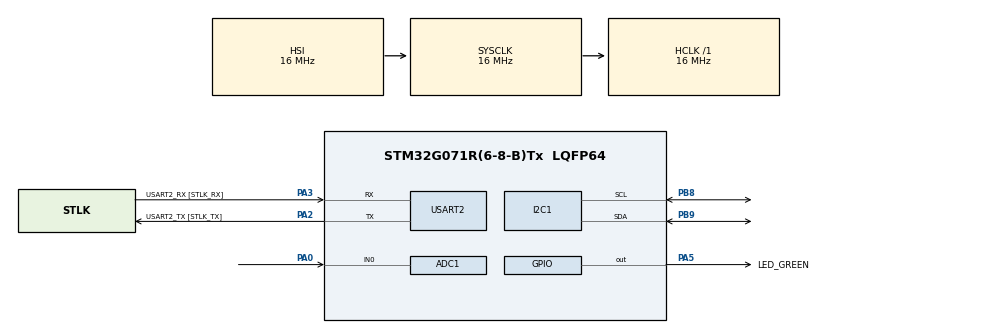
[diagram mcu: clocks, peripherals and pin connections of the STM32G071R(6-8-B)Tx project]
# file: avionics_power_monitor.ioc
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ADC1.Channel-0\#ChannelRegularConversion=ADC_CHANNEL_0
ADC1.NbrOfConversionFlag=1
ADC1.Rank-0\#ChannelRegularConversion=1
ADC1.SamplingTime-0\#ChannelRegularConversion=ADC_SAMPLINGTIME_COMMON_1
ADC1.SamplingTimeCommon1=ADC_SAMPLETIME_79CYCLES_5
ADC1.SamplingTimeCommon2=ADC_SAMPLETIME_1CYCLE_5
ADC1.SelectedChannel=ADC_CHANNEL_0
ADC1.master=1
I2C1.Timing=0x00503D58
Mcu.Family=STM32G0
Mcu.Name=STM32G071R(6-8-B)Tx
Mcu.Package=LQFP64
PA0.Mode=IN0
PA0.Signal=ADC1_IN0
PA13.GPIO_Label=TMS
PA13.Mode=Serial_Wire
PA13.Signal=SYS_SWDIO
PA14-BOOT0.GPIO_Label=TCK
PA14-BOOT0.Mode=Serial_Wire
PA14-BOOT0.Signal=SYS_SWCLK
PA2.GPIO_Label=USART2_TX [STLK_TX]
PA2.GPIO_PuPd=GPIO_PULLUP
PA2.Mode=Asynchronous
PA2.Signal=USART2_TX
PA3.GPIO_Label=USART2_RX [STLK_RX]
PA3.GPIO_PuPd=GPIO_PULLUP
PA3.Mode=Asynchronous
PA3.Signal=USART2_RX
PA5.GPIO_Label=LED_GREEN
PA5.GPIO_Speed=GPIO_SPEED_FREQ_HIGH
PA5.Signal=GPIO_Output
PB8.Mode=I2C
PB8.Signal=I2C1_SCL
PB9.Mode=I2C
PB9.Signal=I2C1_SDA
PC13.Mode=SYS_WakeUp1
PC13.Signal=SYS_WKUP2
PC14-OSC32_IN\ (PC14).Mode=LSE-External-Oscillator
PC14-OSC32_IN\ (PC14).Signal=RCC_OSC32_IN
PC15-OSC32_OUT\ (PC15).Mode=LSE-External-Oscillator
PC15-OSC32_OUT\ (PC15).Signal=RCC_OSC32_OUT
PF0-OSC_IN\ (PF0).GPIO_Label=MCO
PF0-OSC_IN\ (PF0).Mode=HSE-External-Clock-Source
PF0-OSC_IN\ (PF0).Signal=RCC_OSC_IN
ProjectManager.HeapSize=0x200
ProjectManager.StackSize=0x400
ProjectManager.TargetToolchain=STM32CubeIDE
RCC.AHBFreq_Value=16000000
RCC.CortexFreq_Value=16000000
RCC.EXTERNAL_CLOCK_VALUE=12288000
RCC.HCLKFreq_Value=16000000
RCC.HSE_VALUE=8000000
RCC.HSI_VALUE=16000000
RCC.SYSCLKFreq_VALUE=16000000
RCC.VCOOutputFreq_Value=128000000
USART2.VirtualMode-Asynchronous=VM_ASYNC
board=NUCLEO-G071RB

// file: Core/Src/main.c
/* USER CODE BEGIN Header */
/**
  ******************************************************************************
  * @file           : main.c
  * @brief          : Main program body
  ******************************************************************************
  * @attention
  *
  * Copyright (c) 2026 STMicroelectronics.
  * All rights reserved.
  *
  * This software is licensed under terms that can be found in the LICENSE file
  * in the root directory of this software component.
  * If no LICENSE file comes with this software, it is provided AS-IS.
  *
  ******************************************************************************
  */
/* USER CODE END Header */
#include "main.h"

/* USER CODE BEGIN Includes */
#include <stdio.h>
#include <math.h>
#include "bmp3.h"
/* USER CODE END Includes */

ADC_HandleTypeDef hadc1;

I2C_HandleTypeDef hi2c1;

UART_HandleTypeDef huart2;

void SystemClock_Config(void);
static void MX_GPIO_Init(void);
static void MX_USART2_UART_Init(void);
static void MX_I2C1_Init(void);
static void MX_ADC1_Init(void);

/* USER CODE BEGIN 0 */
/* =====================================================
   BMP390 I2C interface for Bosch BMP3 SensorAPI
   ===================================================== */

/*
 * Our BMP390 is using the secondary I2C address 0x77.
 */
static uint8_t bmp390_i2c_address = BMP3_ADDR_I2C_SEC;

/* =====================================================
   BMP390 I2C READ
   ===================================================== */

static BMP3_INTF_RET_TYPE bmp390_i2c_read(
    uint8_t reg_addr,
    uint8_t *read_data,
    uint32_t len,
    void *intf_ptr)
{
    uint8_t device_address =
        *((uint8_t *)intf_ptr);

    if (HAL_I2C_Mem_Read(
            &hi2c1,
            (device_address << 1),
            reg_addr,
            I2C_MEMADD_SIZE_8BIT,
            read_data,
            (uint16_t)len,
            100) == HAL_OK)
    {
        return BMP3_INTF_RET_SUCCESS;
    }

    return BMP3_E_COMM_FAIL;
}

/* =====================================================
   BMP390 I2C WRITE
   ===================================================== */

static BMP3_INTF_RET_TYPE bmp390_i2c_write(
    uint8_t reg_addr,
    const uint8_t *write_data,
    uint32_t len,
    void *intf_ptr)
{
    uint8_t device_address =
        *((uint8_t *)intf_ptr);

    if (HAL_I2C_Mem_Write(
            &hi2c1,
            (device_address << 1),
            reg_addr,
            I2C_MEMADD_SIZE_8BIT,
            (uint8_t *)write_data,
            (uint16_t)len,
            100) == HAL_OK)
    {
        return BMP3_INTF_RET_SUCCESS;
    }

    return BMP3_E_COMM_FAIL;
}

/* =====================================================
   BMP390 DELAY
   ===================================================== */

static void bmp390_delay_us(
    uint32_t period,
    void *intf_ptr)
{
    (void)intf_ptr;

    /*
     * HAL_Delay works in milliseconds.
     * Round microseconds upward so we never delay
     * for less time than Bosch requests.
     */
    uint32_t delay_ms =
        (period + 999U) / 1000U;

    if (delay_ms == 0U)
    {
        delay_ms = 1U;
    }

    HAL_Delay(delay_ms);
}
/* USER CODE END 0 */

int main(void)
{

  /* MCU Configuration--------------------------------------------------------*/

  /* Reset of all peripherals, Initializes the Flash interface and the Systick. */
  HAL_Init();

  /* Configure the system clock */
  SystemClock_Config();

  /* Initialize all configured peripherals */
  MX_GPIO_Init();
  MX_USART2_UART_Init();
  MX_I2C1_Init();
  MX_ADC1_Init();
  /* USER CODE BEGIN 2 */
  /* =========================
     Variables
     ========================= */

  /* Startup / sensor detection messages */
  uint8_t startup_message[] = "Avionics monitor started\r\n";

  uint8_t imu_found[] = "LSM6DSOX FOUND\r\n";
  uint8_t imu_missing[] = "LSM6DSOX NOT FOUND\r\n";

  uint8_t bmp_found[] = "BMP390 FOUND\r\n";
  uint8_t bmp_missing[] = "BMP390 NOT FOUND\r\n";

  /* =========================
     LSM6DSOX variables
     ========================= */

  /* WHO_AM_I register */
  uint8_t who_am_i = 0;
  char imu_id_message[64];

  /* Accelerometer */
  uint8_t accel_config = 0x40;
  uint8_t accel_data[6];

  int16_t accel_x;
  int16_t accel_y;
  int16_t accel_z;

  int32_t accel_x_mg = 0;
  int32_t accel_y_mg = 0;
  int32_t accel_z_mg = 0;

  /* Gyroscope */
  uint8_t gyro_config = 0x40;
  uint8_t gyro_data[6];

  int16_t gyro_x;
  int16_t gyro_y;
  int16_t gyro_z;

  int32_t gyro_x_mdps = 0;
  int32_t gyro_y_mdps = 0;
  int32_t gyro_z_mdps = 0;

  /* =========================
     BMP390 manual ID variables
     ========================= */

  uint8_t bmp_chip_id = 0;
  char bmp_id_message[64];

  /* =========================
     Bosch BMP3 driver variables
     ========================= */

  struct bmp3_dev bmp390_device = {0};

  struct bmp3_settings bmp390_settings = {0};

  struct bmp3_data bmp390_data = {0};

  uint32_t bmp390_settings_select = 0;

  int8_t bmp390_result = BMP3_OK;

  char bmp_driver_message[64];
  char bmp_config_message[64];

  /* =========================
     Battery ADC variables
     ========================= */

  uint32_t adc_raw = 0;
  uint32_t battery_mv = 0;

  /* Complete telemetry buffer */
  char telemetry_message[256];

  /* =========================
     Calibrate ADC
     ========================= */

  HAL_ADCEx_Calibration_Start(&hadc1);

  /* =========================
     Startup message
     ========================= */

  HAL_UART_Transmit(
      &huart2,
      startup_message,
      sizeof(startup_message) - 1U,
      HAL_MAX_DELAY
  );

  /* =========================
     Check LSM6DSOX
     ========================= */

  if (HAL_I2C_IsDeviceReady(
          &hi2c1,
          (0x6A << 1),
          3,
          100) == HAL_OK)
  {
      HAL_UART_Transmit(
          &huart2,
          imu_found,
          sizeof(imu_found) - 1U,
          HAL_MAX_DELAY
      );
  }
  else
  {
      HAL_UART_Transmit(
          &huart2,
          imu_missing,
          sizeof(imu_missing) - 1U,
          HAL_MAX_DELAY
      );
  }

  /* =========================
     Read LSM6DSOX WHO_AM_I
     ========================= */

  if (HAL_I2C_Mem_Read(
          &hi2c1,
          (0x6A << 1),
          0x0F,
          I2C_MEMADD_SIZE_8BIT,
          &who_am_i,
          1,
          100) == HAL_OK)
  {
      int id_message_length = snprintf(
          imu_id_message,
          sizeof(imu_id_message),
          "LSM6DSOX WHO_AM_I=0x%02X\r\n",
          who_am_i
      );

      HAL_UART_Transmit(
          &huart2,
          (uint8_t *)imu_id_message,
          (uint16_t)id_message_length,
          HAL_MAX_DELAY
      );
  }

  /* =========================
     Check BMP390 manually
     ========================= */

  if (HAL_I2C_IsDeviceReady(
          &hi2c1,
          (0x77 << 1),
          3,
          100) == HAL_OK)
  {
      HAL_UART_Transmit(
          &huart2,
          bmp_found,
          sizeof(bmp_found) - 1U,
          HAL_MAX_DELAY
      );
  }
  else
  {
      HAL_UART_Transmit(
          &huart2,
          bmp_missing,
          sizeof(bmp_missing) - 1U,
          HAL_MAX_DELAY
      );
  }

  /* =========================
     Read BMP390 CHIP_ID manually
     ========================= */

  if (HAL_I2C_Mem_Read(
          &hi2c1,
          (0x77 << 1),
          0x00,
          I2C_MEMADD_SIZE_8BIT,
          &bmp_chip_id,
          1,
          100) == HAL_OK)
  {
      int bmp_id_length = snprintf(
          bmp_id_message,
          sizeof(bmp_id_message),
          "BMP390 CHIP_ID=0x%02X\r\n",
          bmp_chip_id
      );

      HAL_UART_Transmit(
          &huart2,
          (uint8_t *)bmp_id_message,
          (uint16_t)bmp_id_length,
          HAL_MAX_DELAY
      );
  }

  /* =========================
     Initialize Bosch BMP3 driver
     ========================= */

  bmp390_device.intf = BMP3_I2C_INTF;

  bmp390_device.read = bmp390_i2c_read;

  bmp390_device.write = bmp390_i2c_write;

  bmp390_device.delay_us = bmp390_delay_us;

  bmp390_device.intf_ptr = &bmp390_i2c_address;

  bmp390_result = bmp3_init(&bmp390_device);

  /* =========================
     Report Bosch driver status
     ========================= */

  if (bmp390_result == BMP3_OK)
  {
      int bmp_driver_length = snprintf(
          bmp_driver_message,
          sizeof(bmp_driver_message),
          "BMP390 DRIVER INIT OK CHIP_ID=0x%02X\r\n",
          bmp390_device.chip_id
      );

      HAL_UART_Transmit(
          &huart2,
          (uint8_t *)bmp_driver_message,
          (uint16_t)bmp_driver_length,
          HAL_MAX_DELAY
      );
  }
  else
  {
      int bmp_driver_length = snprintf(
          bmp_driver_message,
          sizeof(bmp_driver_message),
          "BMP390 DRIVER INIT FAILED=%d\r\n",
          bmp390_result
      );

      HAL_UART_Transmit(
          &huart2,
          (uint8_t *)bmp_driver_message,
          (uint16_t)bmp_driver_length,
          HAL_MAX_DELAY
      );
  }

  /* =========================
     Configure BMP390
     ========================= */

  if (bmp390_result == BMP3_OK)
  {
      /* Enable pressure and temperature sensing */
      bmp390_settings.press_en = BMP3_ENABLE;
      bmp390_settings.temp_en = BMP3_ENABLE;

      /*
       * Start with no oversampling for our first test.
       * We can increase precision later.
       */
      bmp390_settings.odr_filter.press_os =
          BMP3_NO_OVERSAMPLING;

      bmp390_settings.odr_filter.temp_os =
          BMP3_NO_OVERSAMPLING;

      /* Sensor produces new data at 25 Hz */
      bmp390_settings.odr_filter.odr =
          BMP3_ODR_25_HZ;

      /* Tell Bosch which settings we want changed */
      bmp390_settings_select =
          BMP3_SEL_PRESS_EN |
          BMP3_SEL_TEMP_EN |
          BMP3_SEL_PRESS_OS |
          BMP3_SEL_TEMP_OS |
          BMP3_SEL_ODR;

      bmp390_result = bmp3_set_sensor_settings(
          bmp390_settings_select,
          &bmp390_settings,
          &bmp390_device
      );

      /* Put BMP390 into continuous normal measurement mode */
      if (bmp390_result == BMP3_OK)
      {
          bmp390_settings.op_mode =
              BMP3_MODE_NORMAL;

          bmp390_result = bmp3_set_op_mode(
              &bmp390_settings,
              &bmp390_device
          );
      }

      /* Give the sensor time to begin producing measurements */
      HAL_Delay(50);
  }

  /* =========================
     Report BMP390 configuration
     ========================= */

  if (bmp390_result == BMP3_OK)
  {
      uint8_t bmp_config_ok[] =
          "BMP390 CONFIG OK\r\n";

      HAL_UART_Transmit(
          &huart2,
          bmp_config_ok,
          sizeof(bmp_config_ok) - 1U,
          HAL_MAX_DELAY
      );
  }
  else
  {
      int bmp_config_length = snprintf(
          bmp_config_message,
          sizeof(bmp_config_message),
          "BMP390 CONFIG FAILED=%d\r\n",
          bmp390_result
      );

      HAL_UART_Transmit(
          &huart2,
          (uint8_t *)bmp_config_message,
          (uint16_t)bmp_config_length,
          HAL_MAX_DELAY
      );
  }

  /* =========================
     Configure accelerometer
     ========================= */

  HAL_I2C_Mem_Write(
      &hi2c1,
      (0x6A << 1),
      0x10,
      I2C_MEMADD_SIZE_8BIT,
      &accel_config,
      1,
      100
  );

  /* =========================
     Configure gyroscope
     ========================= */

  HAL_I2C_Mem_Write(
      &hi2c1,
      (0x6A << 1),
      0x11,
      I2C_MEMADD_SIZE_8BIT,
      &gyro_config,
      1,
      100
  );

  /* USER CODE END 2 */

  /* Infinite loop */
  while (1)
  {

      /* USER CODE BEGIN 3 */
	  /* ========================================
	         Sensor health flags
	         ======================================== */

	      uint8_t imu_ok = 0U;
	      uint8_t bmp390_ok = 0U;

	      /* ========================================
	         Try to read LSM6DSOX
	         ======================================== */

	      HAL_StatusTypeDef accel_status;
	      HAL_StatusTypeDef gyro_status;

	      accel_status = HAL_I2C_Mem_Read(
	          &hi2c1,
	          (0x6A << 1),
	          0x28,
	          I2C_MEMADD_SIZE_8BIT,
	          accel_data,
	          6,
	          100
	      );

	      gyro_status = HAL_I2C_Mem_Read(
	          &hi2c1,
	          (0x6A << 1),
	          0x22,
	          I2C_MEMADD_SIZE_8BIT,
	          gyro_data,
	          6,
	          100
	      );

	      /* ========================================
	         Automatic LSM6DSOX recovery
	         ======================================== */

	      if ((accel_status != HAL_OK) ||
	          (gyro_status != HAL_OK))
	      {
	          /*
	           * Communication failed.
	           *
	           * Check if the IMU has returned to
	           * I2C address 0x6A.
	           */

	          if (HAL_I2C_IsDeviceReady(
	                  &hi2c1,
	                  (0x6A << 1),
	                  3,
	                  100) == HAL_OK)
	          {
	              /*
	               * Reapply accelerometer configuration.
	               */
	              HAL_I2C_Mem_Write(
	                  &hi2c1,
	                  (0x6A << 1),
	                  0x10,
	                  I2C_MEMADD_SIZE_8BIT,
	                  &accel_config,
	                  1,
	                  100
	              );

	              /*
	               * Reapply gyroscope configuration.
	               */
	              HAL_I2C_Mem_Write(
	                  &hi2c1,
	                  (0x6A << 1),
	                  0x11,
	                  I2C_MEMADD_SIZE_8BIT,
	                  &gyro_config,
	                  1,
	                  100
	              );

	              /*
	               * Give sensor a moment to resume.
	               */
	              HAL_Delay(20);

	              /*
	               * Retry both measurements.
	               */
	              accel_status = HAL_I2C_Mem_Read(
	                  &hi2c1,
	                  (0x6A << 1),
	                  0x28,
	                  I2C_MEMADD_SIZE_8BIT,
	                  accel_data,
	                  6,
	                  100
	              );

	              gyro_status = HAL_I2C_Mem_Read(
	                  &hi2c1,
	                  (0x6A << 1),
	                  0x22,
	                  I2C_MEMADD_SIZE_8BIT,
	                  gyro_data,
	                  6,
	                  100
	              );
	          }
	      }

	      /* ========================================
	         Process LSM6DSOX data
	         ======================================== */

	      if ((accel_status == HAL_OK) &&
	          (gyro_status == HAL_OK))
	      {
	          imu_ok = 1U;

	          /* Accelerometer */
	          accel_x =
	              (int16_t)((accel_data[1] << 8) |
	                        accel_data[0]);

	          accel_y =
	              (int16_t)((accel_data[3] << 8) |
	                        accel_data[2]);

	          accel_z =
	              (int16_t)((accel_data[5] << 8) |
	                        accel_data[4]);

	          accel_x_mg =
	              ((int32_t)accel_x * 61) / 1000;

	          accel_y_mg =
	              ((int32_t)accel_y * 61) / 1000;

	          accel_z_mg =
	              ((int32_t)accel_z * 61) / 1000;

	          /* Gyroscope */
	          gyro_x =
	              (int16_t)((gyro_data[1] << 8) |
	                        gyro_data[0]);

	          gyro_y =
	              (int16_t)((gyro_data[3] << 8) |
	                        gyro_data[2]);

	          gyro_z =
	              (int16_t)((gyro_data[5] << 8) |
	                        gyro_data[4]);

	          gyro_x_mdps =
	              ((int32_t)gyro_x * 875) / 100;

	          gyro_y_mdps =
	              ((int32_t)gyro_y * 875) / 100;

	          gyro_z_mdps =
	              ((int32_t)gyro_z * 875) / 100;
	      }
	      else
	      {
	          /*
	           * IMU still unavailable.
	           * Clear stale measurements.
	           */

	          imu_ok = 0U;

	          accel_x_mg = 0;
	          accel_y_mg = 0;
	          accel_z_mg = 0;

	          gyro_x_mdps = 0;
	          gyro_y_mdps = 0;
	          gyro_z_mdps = 0;
	      }

	      /* ========================================
	         BMP390 data variables
	         ======================================== */

	      int32_t bmp_temp_centi_c = 0;
	      uint32_t bmp_pressure_pa = 0;
	      int32_t altitude_m_x100 = 0;

	      /* ========================================
	         First BMP390 measurement attempt
	         ======================================== */

	      bmp390_result = bmp3_get_sensor_data(
	          BMP3_PRESS_TEMP,
	          &bmp390_data,
	          &bmp390_device
	      );

	      /* ========================================
	         Automatic BMP390 recovery
	         ======================================== */

	      if (bmp390_result != BMP3_OK)
	      {
	          if (HAL_I2C_IsDeviceReady(
	                  &hi2c1,
	                  (0x77 << 1),
	                  3,
	                  100) == HAL_OK)
	          {
	              /*
	               * Reinitialize Bosch driver.
	               */
	              bmp390_result =
	                  bmp3_init(&bmp390_device);

	              if (bmp390_result == BMP3_OK)
	              {
	                  /*
	                   * Reapply pressure and
	                   * temperature settings.
	                   */

	                  bmp390_settings.press_en =
	                      BMP3_ENABLE;

	                  bmp390_settings.temp_en =
	                      BMP3_ENABLE;

	                  bmp390_settings.odr_filter.press_os =
	                      BMP3_NO_OVERSAMPLING;

	                  bmp390_settings.odr_filter.temp_os =
	                      BMP3_NO_OVERSAMPLING;

	                  bmp390_settings.odr_filter.odr =
	                      BMP3_ODR_25_HZ;

	                  bmp390_settings_select =
	                      BMP3_SEL_PRESS_EN |
	                      BMP3_SEL_TEMP_EN |
	                      BMP3_SEL_PRESS_OS |
	                      BMP3_SEL_TEMP_OS |
	                      BMP3_SEL_ODR;

	                  bmp390_result =
	                      bmp3_set_sensor_settings(
	                          bmp390_settings_select,
	                          &bmp390_settings,
	                          &bmp390_device
	                      );
	              }

	              if (bmp390_result == BMP3_OK)
	              {
	                  /*
	                   * Return BMP390 to normal mode.
	                   */

	                  bmp390_settings.op_mode =
	                      BMP3_MODE_NORMAL;

	                  bmp390_result =
	                      bmp3_set_op_mode(
	                          &bmp390_settings,
	                          &bmp390_device
	                      );
	              }

	              if (bmp390_result == BMP3_OK)
	              {
	                  HAL_Delay(50);

	                  /*
	                   * Retry measurement.
	                   */

	                  bmp390_result =
	                      bmp3_get_sensor_data(
	                          BMP3_PRESS_TEMP,
	                          &bmp390_data,
	                          &bmp390_device
	                      );
	              }
	          }
	      }

	      /* ========================================
	         Process BMP390 data
	         ======================================== */

	      if (bmp390_result == BMP3_OK)
	      {
	          bmp390_ok = 1U;

	          bmp_temp_centi_c =
	              (int32_t)(
	                  bmp390_data.temperature * 100.0
	              );

	          bmp_pressure_pa =
	              (uint32_t)(
	                  bmp390_data.pressure
	              );

	          if (bmp_pressure_pa > 0U)
	          {
	              double pressure_ratio =
	                  (double)bmp_pressure_pa /
	                  101325.0;

	              double altitude_m =
	                  44330.0 *
	                  (
	                      1.0 -
	                      pow(
	                          pressure_ratio,
	                          0.190294957
	                      )
	                  );

	              altitude_m_x100 =
	                  (int32_t)(
	                      altitude_m * 100.0
	                  );
	          }
	      }
	      else
	      {
	          bmp390_ok = 0U;

	          bmp_temp_centi_c = 0;
	          bmp_pressure_pa = 0;
	          altitude_m_x100 = 0;
	      }

	      /* ========================================
	         Read real battery voltage
	         ======================================== */

	      HAL_ADC_Start(&hadc1);

	      if (HAL_ADC_PollForConversion(
	              &hadc1,
	              100) == HAL_OK)
	      {
	          adc_raw =
	              HAL_ADC_GetValue(&hadc1);

	          battery_mv =
	              ((uint64_t)adc_raw *
	               3300U *
	               133U) /
	              (4095U * 33U);
	      }

	      HAL_ADC_Stop(&hadc1);

	      /* ========================================
	         Determine system status
	         ======================================== */

	      uint8_t low_battery =
	          (battery_mv < 7000U);

	      const char *system_status;

	      if (low_battery &&
	          !imu_ok &&
	          !bmp390_ok)
	      {
	          system_status =
	              "LOW_BATT_IMU_BMP_FAULT";
	      }
	      else if (low_battery &&
	               !imu_ok)
	      {
	          system_status =
	              "LOW_BATT_IMU_FAULT";
	      }
	      else if (low_battery &&
	               !bmp390_ok)
	      {
	          system_status =
	              "LOW_BATT_BMP_FAULT";
	      }
	      else if (!imu_ok &&
	               !bmp390_ok)
	      {
	          system_status =
	              "IMU_BMP_FAULT";
	      }
	      else if (!imu_ok)
	      {
	          system_status =
	              "IMU_FAULT";
	      }
	      else if (!bmp390_ok)
	      {
	          system_status =
	              "BMP_FAULT";
	      }
	      else if (low_battery)
	      {
	          system_status =
	              "LOW_BATTERY";
	      }
	      else
	      {
	          system_status =
	              "OK";
	      }

	      /* ========================================
	         Create complete telemetry packet
	         ======================================== */

	      int message_length = snprintf(
	          telemetry_message,
	          sizeof(telemetry_message),
	          "TIME_MS=%lu,"
	          "BATTERY_MV=%lu,"
	          "STATUS=%s,"
	          "ACCEL_X_MG=%ld,"
	          "ACCEL_Y_MG=%ld,"
	          "ACCEL_Z_MG=%ld,"
	          "GYRO_X_MDPS=%ld,"
	          "GYRO_Y_MDPS=%ld,"
	          "GYRO_Z_MDPS=%ld,"
	          "TEMP_C_X100=%ld,"
	          "PRESSURE_PA=%lu,"
	          "ALTITUDE_M_X100=%ld\r\n",
	          (unsigned long)HAL_GetTick(),
	          (unsigned long)battery_mv,
	          system_status,
	          (long)accel_x_mg,
	          (long)accel_y_mg,
	          (long)accel_z_mg,
	          (long)gyro_x_mdps,
	          (long)gyro_y_mdps,
	          (long)gyro_z_mdps,
	          (long)bmp_temp_centi_c,
	          (unsigned long)bmp_pressure_pa,
	          (long)altitude_m_x100
	      );

	      /* ========================================
	         Send telemetry
	         ======================================== */

	      HAL_UART_Transmit(
	          &huart2,
	          (uint8_t *)telemetry_message,
	          (uint16_t)message_length,
	          HAL_MAX_DELAY
	      );

	      HAL_Delay(1000);
	  }

  /* USER CODE END 3 */
}

void SystemClock_Config(void)
{
  RCC_OscInitTypeDef RCC_OscInitStruct = {0};
  RCC_ClkInitTypeDef RCC_ClkInitStruct = {0};

  /** Configure the main internal regulator output voltage
  */
  HAL_PWREx_ControlVoltageScaling(PWR_REGULATOR_VOLTAGE_SCALE1);

  /** Initializes the RCC Oscillators according to the specified parameters
  * in the RCC_OscInitTypeDef structure.
  */
  RCC_OscInitStruct.OscillatorType = RCC_OSCILLATORTYPE_HSI;
  RCC_OscInitStruct.HSIState = RCC_HSI_ON;
  RCC_OscInitStruct.HSIDiv = RCC_HSI_DIV1;
  RCC_OscInitStruct.HSICalibrationValue = RCC_HSICALIBRATION_DEFAULT;
  RCC_OscInitStruct.PLL.PLLState = RCC_PLL_NONE;
  if (HAL_RCC_OscConfig(&RCC_OscInitStruct) != HAL_OK)
  {
    Error_Handler();
  }

  /** Initializes the CPU, AHB and APB buses clocks
  */
  RCC_ClkInitStruct.ClockType = RCC_CLOCKTYPE_HCLK|RCC_CLOCKTYPE_SYSCLK
                              |RCC_CLOCKTYPE_PCLK1;
  RCC_ClkInitStruct.SYSCLKSource = RCC_SYSCLKSOURCE_HSI;
  RCC_ClkInitStruct.AHBCLKDivider = RCC_SYSCLK_DIV1;
  RCC_ClkInitStruct.APB1CLKDivider = RCC_HCLK_DIV1;

  if (HAL_RCC_ClockConfig(&RCC_ClkInitStruct, FLASH_LATENCY_0) != HAL_OK)
  {
    Error_Handler();
  }
}

static void MX_ADC1_Init(void)
{

  ADC_ChannelConfTypeDef sConfig = {0};

  /** Configure the global features of the ADC (Clock, Resolution, Data Alignment and number of conversion)
  */
  hadc1.Instance = ADC1;
  hadc1.Init.ClockPrescaler = ADC_CLOCK_SYNC_PCLK_DIV2;
  hadc1.Init.Resolution = ADC_RESOLUTION_12B;
  hadc1.Init.DataAlign = ADC_DATAALIGN_RIGHT;
  hadc1.Init.ScanConvMode = ADC_SCAN_DISABLE;
  hadc1.Init.EOCSelection = ADC_EOC_SINGLE_CONV;
  hadc1.Init.LowPowerAutoWait = DISABLE;
  hadc1.Init.LowPowerAutoPowerOff = DISABLE;
  hadc1.Init.ContinuousConvMode = DISABLE;
  hadc1.Init.NbrOfConversion = 1;
  hadc1.Init.DiscontinuousConvMode = DISABLE;
  hadc1.Init.ExternalTrigConv = ADC_SOFTWARE_START;
  hadc1.Init.ExternalTrigConvEdge = ADC_EXTERNALTRIGCONVEDGE_NONE;
  hadc1.Init.DMAContinuousRequests = DISABLE;
  hadc1.Init.Overrun = ADC_OVR_DATA_PRESERVED;
  hadc1.Init.SamplingTimeCommon1 = ADC_SAMPLETIME_79CYCLES_5;
  hadc1.Init.SamplingTimeCommon2 = ADC_SAMPLETIME_1CYCLE_5;
  hadc1.Init.OversamplingMode = DISABLE;
  hadc1.Init.TriggerFrequencyMode = ADC_TRIGGER_FREQ_HIGH;
  if (HAL_ADC_Init(&hadc1) != HAL_OK)
  {
    Error_Handler();
  }

  /** Configure Regular Channel
  */
  sConfig.Channel = ADC_CHANNEL_0;
  sConfig.Rank = ADC_REGULAR_RANK_1;
  sConfig.SamplingTime = ADC_SAMPLINGTIME_COMMON_1;
  if (HAL_ADC_ConfigChannel(&hadc1, &sConfig) != HAL_OK)
  {
    Error_Handler();
  }

}

static void MX_I2C1_Init(void)
{

  hi2c1.Instance = I2C1;
  hi2c1.Init.Timing = 0x00503D58;
  hi2c1.Init.OwnAddress1 = 0;
  hi2c1.Init.AddressingMode = I2C_ADDRESSINGMODE_7BIT;
  hi2c1.Init.DualAddressMode = I2C_DUALADDRESS_DISABLE;
  hi2c1.Init.OwnAddress2 = 0;
  hi2c1.Init.OwnAddress2Masks = I2C_OA2_NOMASK;
  hi2c1.Init.GeneralCallMode = I2C_GENERALCALL_DISABLE;
  hi2c1.Init.NoStretchMode = I2C_NOSTRETCH_DISABLE;
  if (HAL_I2C_Init(&hi2c1) != HAL_OK)
  {
    Error_Handler();
  }

  /** Configure Analogue filter
  */
  if (HAL_I2CEx_ConfigAnalogFilter(&hi2c1, I2C_ANALOGFILTER_ENABLE) != HAL_OK)
  {
    Error_Handler();
  }

  /** Configure Digital filter
  */
  if (HAL_I2CEx_ConfigDigitalFilter(&hi2c1, 0) != HAL_OK)
  {
    Error_Handler();
  }

}

static void MX_USART2_UART_Init(void)
{

  huart2.Instance = USART2;
  huart2.Init.BaudRate = 115200;
  huart2.Init.WordLength = UART_WORDLENGTH_8B;
  huart2.Init.StopBits = UART_STOPBITS_1;
  huart2.Init.Parity = UART_PARITY_NONE;
  huart2.Init.Mode = UART_MODE_TX_RX;
  huart2.Init.HwFlowCtl = UART_HWCONTROL_NONE;
  huart2.Init.OverSampling = UART_OVERSAMPLING_16;
  huart2.Init.OneBitSampling = UART_ONE_BIT_SAMPLE_DISABLE;
  huart2.Init.ClockPrescaler = UART_PRESCALER_DIV1;
  huart2.AdvancedInit.AdvFeatureInit = UART_ADVFEATURE_NO_INIT;
  if (HAL_UART_Init(&huart2) != HAL_OK)
  {
    Error_Handler();
  }
  if (HAL_UARTEx_SetTxFifoThreshold(&huart2, UART_TXFIFO_THRESHOLD_1_8) != HAL_OK)
  {
    Error_Handler();
  }
  if (HAL_UARTEx_SetRxFifoThreshold(&huart2, UART_RXFIFO_THRESHOLD_1_8) != HAL_OK)
  {
    Error_Handler();
  }
  if (HAL_UARTEx_DisableFifoMode(&huart2) != HAL_OK)
  {
    Error_Handler();
  }

}

static void MX_GPIO_Init(void)
{
  GPIO_InitTypeDef GPIO_InitStruct = {0};

  /* GPIO Ports Clock Enable */
  __HAL_RCC_GPIOC_CLK_ENABLE();
  __HAL_RCC_GPIOF_CLK_ENABLE();
  __HAL_RCC_GPIOA_CLK_ENABLE();
  __HAL_RCC_GPIOB_CLK_ENABLE();

  /*Configure GPIO pin Output Level */
  HAL_GPIO_WritePin(LED_GREEN_GPIO_Port, LED_GREEN_Pin, GPIO_PIN_RESET);

  /*Configure GPIO pin : LED_GREEN_Pin */
  GPIO_InitStruct.Pin = LED_GREEN_Pin;
  GPIO_InitStruct.Mode = GPIO_MODE_OUTPUT_PP;
  GPIO_InitStruct.Pull = GPIO_NOPULL;
  GPIO_InitStruct.Speed = GPIO_SPEED_FREQ_HIGH;
  HAL_GPIO_Init(LED_GREEN_GPIO_Port, &GPIO_InitStruct);

}

void Error_Handler(void)
{
  __disable_irq();
  while (1)
  {
  }
}
